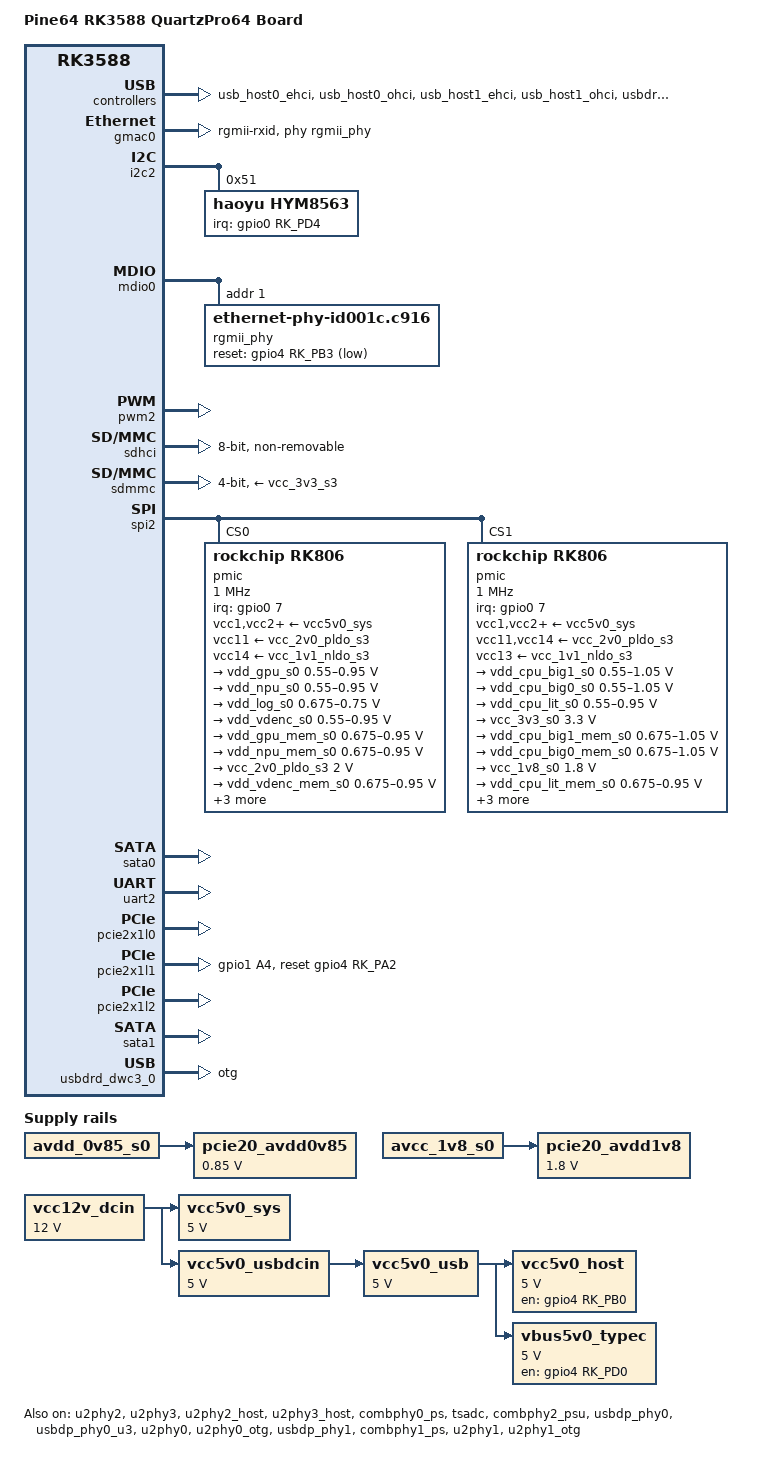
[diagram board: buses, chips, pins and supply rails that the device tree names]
// SPDX-License-Identifier: (GPL-2.0+ OR MIT)
/*
 * Copyright (c) 2021 Rockchip Electronics Co., Ltd.
 *
 */

/dts-v1/;

#include <dt-bindings/gpio/gpio.h>
#include <dt-bindings/pinctrl/rockchip.h>
#include <dt-bindings/usb/pd.h>
#include "rk3588.dtsi"

/ {
	model = "Pine64 RK3588 QuartzPro64 Board";
	compatible = "pine64,quartzpro64", "rockchip,rk3588";

	aliases {
		mmc0 = &sdhci;
		serial2 = &uart2;
	};

	chosen {
		stdout-path = "serial2:1500000n8";
	};

	vcc12v_dcin: vcc12v-dcin-regulator {
		compatible = "regulator-fixed";
		regulator-name = "vcc12v_dcin";
		regulator-always-on;
		regulator-boot-on;
		regulator-min-microvolt = <12000000>;
		regulator-max-microvolt = <12000000>;
	};

	vcc5v0_sys: vcc5v0-sys-regulator {
		compatible = "regulator-fixed";
		regulator-name = "vcc5v0_sys";
		regulator-always-on;
		regulator-boot-on;
		regulator-min-microvolt = <5000000>;
		regulator-max-microvolt = <5000000>;
		vin-supply = <&vcc12v_dcin>;
	};

	vcc5v0_usbdcin: vcc5v0-usbdcin {
		compatible = "regulator-fixed";
		regulator-name = "vcc5v0_usbdcin";
		regulator-always-on;
		regulator-boot-on;
		regulator-min-microvolt = <5000000>;
		regulator-max-microvolt = <5000000>;
		vin-supply = <&vcc12v_dcin>;
	};

	vcc5v0_usb: vcc5v0-usb {
		compatible = "regulator-fixed";
		regulator-name = "vcc5v0_usb";
		regulator-always-on;
		regulator-boot-on;
		regulator-min-microvolt = <5000000>;
		regulator-max-microvolt = <5000000>;
		vin-supply = <&vcc5v0_usbdcin>;
	};

	vcc5v0_host: vcc5v0-host {
		compatible = "regulator-fixed";
		regulator-name = "vcc5v0_host";
		regulator-boot-on;
		regulator-always-on;
		regulator-min-microvolt = <5000000>;
		regulator-max-microvolt = <5000000>;
		enable-active-high;
		gpio = <&gpio4 RK_PB0 GPIO_ACTIVE_HIGH>;
		vin-supply = <&vcc5v0_usb>;
		pinctrl-names = "default";
		pinctrl-0 = <&vcc5v0_host_en>;
	};

	pcie20_avdd0v85: pcie20-avdd0v85 {
		compatible = "regulator-fixed";
		regulator-name = "pcie20_avdd0v85";
		regulator-boot-on;
		regulator-always-on;
		regulator-min-microvolt = <850000>;
		regulator-max-microvolt = <850000>;
		vin-supply = <&avdd_0v85_s0>;
	};

	pcie20_avdd1v8: pcie20-avdd1v8 {
		compatible = "regulator-fixed";
		regulator-name = "pcie20_avdd1v8";
		regulator-boot-on;
		regulator-always-on;
		regulator-min-microvolt = <1800000>;
		regulator-max-microvolt = <1800000>;
		vin-supply = <&avcc_1v8_s0>;
	};

	vbus5v0_typec: vbus5v0-typec {
		compatible = "regulator-fixed";
		regulator-name = "vbus5v0_typec";
		regulator-min-microvolt = <5000000>;
		regulator-max-microvolt = <5000000>;
		enable-active-high;
		gpio = <&gpio4 RK_PD0 GPIO_ACTIVE_HIGH>;
		vin-supply = <&vcc5v0_usb>;
		pinctrl-names = "default";
		pinctrl-0 = <&typec5v_pwren>;
	};
};

&cpu_b0 {
	cpu-supply = <&vdd_cpu_big0_s0>;
	mem-supply = <&vdd_cpu_big0_mem_s0>;
};

&cpu_b1 {
	cpu-supply = <&vdd_cpu_big0_s0>;
	mem-supply = <&vdd_cpu_big0_mem_s0>;
};

&cpu_b2 {
	cpu-supply = <&vdd_cpu_big1_s0>;
	mem-supply = <&vdd_cpu_big1_mem_s0>;
};

&cpu_b3 {
	cpu-supply = <&vdd_cpu_big1_s0>;
	mem-supply = <&vdd_cpu_big1_mem_s0>;
};

&cpu_l0 {
	cpu-supply = <&vdd_cpu_lit_s0>;
	mem-supply = <&vdd_cpu_lit_mem_s0>;
};

&cpu_l1 {
	cpu-supply = <&vdd_cpu_lit_s0>;
	mem-supply = <&vdd_cpu_lit_mem_s0>;
};

&cpu_l2 {
	cpu-supply = <&vdd_cpu_lit_s0>;
	mem-supply = <&vdd_cpu_lit_mem_s0>;
};

&cpu_l3 {
	cpu-supply = <&vdd_cpu_lit_s0>;
	mem-supply = <&vdd_cpu_lit_mem_s0>;
};

&u2phy2 {
	status = "okay";
};

&u2phy3 {
	status = "okay";
};

&u2phy2_host {
	phy-supply = <&vcc5v0_host>;
	status = "okay";
};

&u2phy3_host {
	phy-supply = <&vcc5v0_host>;
	status = "okay";
};

&usb_host0_ehci {
	status = "okay";
};

&usb_host0_ohci {
	status = "okay";
};

&usb_host1_ehci {
	status = "okay";
};

&usb_host1_ohci {
	status = "okay";
};

&gmac0 {
	clock_in_out = "output";
	phy-handle = <&rgmii_phy>;
	phy-mode = "rgmii-rxid";
	pinctrl-0 = <&gmac0_miim
		     &gmac0_tx_bus2
		     &gmac0_rx_bus2
		     &gmac0_rgmii_clk
		     &gmac0_rgmii_bus>;
	pinctrl-names = "default";
	rx_delay = <0x00>;
	tx_delay = <0x43>;
	status = "okay";
};

&i2c2 {
	status = "okay";

	hym8563: rtc@51 {
		compatible = "haoyu,hym8563";
		reg = <0x51>;
		#clock-cells = <0>;
		clock-output-names = "hym8563";
		pinctrl-names = "default";
		pinctrl-0 = <&hym8563_int>;
		interrupt-parent = <&gpio0>;
		interrupts = <RK_PD4 IRQ_TYPE_LEVEL_LOW>;
		wakeup-source;
	};
};

&mdio0 {
	rgmii_phy: ethernet-phy@1 {
		/* RTL8211F */
		compatible = "ethernet-phy-id001c.c916";
		reg = <0x1>;
		pinctrl-names = "default";
		pinctrl-0 = <&rtl8211f_rst>;
		reset-assert-us = <20000>;
		reset-deassert-us = <100000>;
		reset-gpios = <&gpio4 RK_PB3 GPIO_ACTIVE_LOW>;
	};
};

&pinctrl {
	rtl8211f {
		rtl8211f_rst: rtl8211f-rst {
			rockchip,pins = <4 RK_PB3 RK_FUNC_GPIO &pcfg_pull_none>;
		};

	};

	hym8563 {
		hym8563_int: hym8563-int {
			rockchip,pins = <0 RK_PD4 RK_FUNC_GPIO &pcfg_pull_up>;
		};
	};
};

&pwm2 {
	status = "okay";
};

&sdhci {
	bus-width = <8>;
	no-sdio;
	no-sd;
	non-removable;
	max-frequency = <150000000>;
	mmc-hs200-1_8v;
	// mmc-hs400-1_8v;
	// mmc-hs400-enhanced-strobe;
	status = "okay";
};

&sdmmc {
	max-frequency = <150000000>;
	no-sdio;
	no-mmc;
	bus-width = <4>;
	cap-sd-highspeed;
	sd-uhs-sdr104;
	disable-wp;
	vmmc-supply = <&vcc_3v3_s3>;
	vqmmc-supply = <&vccio_sd_s0>;
	status = "okay";
};

&spi2 {
	status = "okay";
	assigned-clocks = <&cru CLK_SPI2>;
	assigned-clock-rates = <200000000>;
	num-cs = <2>;

	pmic@0 {
		compatible = "rockchip,rk806";
		reg = <0x0>;
		#gpio-cells = <2>;
		gpio-controller;
		interrupt-parent = <&gpio0>;
		interrupts = <7 IRQ_TYPE_LEVEL_LOW>;
		pinctrl-0 = <&pmic_pins>, <&rk806_dvs1_null>,
			    <&rk806_dvs2_null>, <&rk806_dvs3_null>;
		pinctrl-names = "default";
		spi-max-frequency = <1000000>;

		vcc1-supply = <&vcc5v0_sys>;
		vcc2-supply = <&vcc5v0_sys>;
		vcc3-supply = <&vcc5v0_sys>;
		vcc4-supply = <&vcc5v0_sys>;
		vcc5-supply = <&vcc5v0_sys>;
		vcc6-supply = <&vcc5v0_sys>;
		vcc7-supply = <&vcc5v0_sys>;
		vcc8-supply = <&vcc5v0_sys>;
		vcc9-supply = <&vcc5v0_sys>;
		vcc10-supply = <&vcc5v0_sys>;
		vcc11-supply = <&vcc_2v0_pldo_s3>;
		vcc12-supply = <&vcc5v0_sys>;
		vcc13-supply = <&vcc5v0_sys>;
		vcc14-supply = <&vcc_1v1_nldo_s3>;
		vcca-supply = <&vcc5v0_sys>;

		rk806_dvs1_null: dvs1-null-pins {
			pins = "gpio_pwrctrl1";
			function = "pin_fun0";
		};

		rk806_dvs2_null: dvs2-null-pins {
			pins = "gpio_pwrctrl2";
			function = "pin_fun0";
		};

		rk806_dvs3_null: dvs3-null-pins {
			pins = "gpio_pwrctrl3";
			function = "pin_fun0";
		};


		regulators {
			vdd_gpu_s0: dcdc-reg1 {
				regulator-boot-on;
				regulator-min-microvolt = <550000>;
				regulator-max-microvolt = <950000>;
				regulator-ramp-delay = <12500>;
				regulator-name = "vdd_gpu_s0";
				regulator-enable-ramp-delay = <400>;
				regulator-state-mem {
					regulator-off-in-suspend;
				};
			};

			vdd_npu_s0: dcdc-reg2 {
				regulator-always-on;
				regulator-boot-on;
				regulator-min-microvolt = <550000>;
				regulator-max-microvolt = <950000>;
				regulator-ramp-delay = <12500>;
				regulator-name = "vdd_npu_s0";
				regulator-state-mem {
					regulator-off-in-suspend;
				};
			};

			vdd_log_s0: dcdc-reg3 {
				regulator-always-on;
				regulator-boot-on;
				regulator-min-microvolt = <675000>;
				regulator-max-microvolt = <750000>;
				regulator-ramp-delay = <12500>;
				regulator-name = "vdd_log_s0";
				regulator-state-mem {
					regulator-off-in-suspend;
					regulator-suspend-microvolt = <750000>;
				};
			};

			vdd_vdenc_s0: dcdc-reg4 {
				regulator-always-on;
				regulator-boot-on;
				regulator-min-microvolt = <550000>;
				regulator-max-microvolt = <950000>;
				regulator-ramp-delay = <12500>;
				regulator-name = "vdd_vdenc_s0";
				regulator-state-mem {
					regulator-off-in-suspend;
				};

			};

			vdd_gpu_mem_s0: dcdc-reg5 {
				regulator-boot-on;
				regulator-min-microvolt = <675000>;
				regulator-max-microvolt = <950000>;
				regulator-ramp-delay = <12500>;
				regulator-enable-ramp-delay = <400>;
				regulator-name = "vdd_gpu_mem_s0";
				regulator-state-mem {
					regulator-off-in-suspend;
				};

			};

			vdd_npu_mem_s0: dcdc-reg6 {
				regulator-always-on;
				regulator-boot-on;
				regulator-min-microvolt = <675000>;
				regulator-max-microvolt = <950000>;
				regulator-ramp-delay = <12500>;
				regulator-name = "vdd_npu_mem_s0";
				regulator-state-mem {
					regulator-off-in-suspend;
				};

			};

			vcc_2v0_pldo_s3: dcdc-reg7 {
				regulator-always-on;
				regulator-boot-on;
				regulator-min-microvolt = <2000000>;
				regulator-max-microvolt = <2000000>;
				regulator-ramp-delay = <12500>;
				regulator-name = "vdd_2v0_pldo_s3";
				regulator-state-mem {
					regulator-on-in-suspend;
					regulator-suspend-microvolt = <2000000>;
				};
			};

			vdd_vdenc_mem_s0: dcdc-reg8 {
				regulator-always-on;
				regulator-boot-on;
				regulator-min-microvolt = <675000>;
				regulator-max-microvolt = <950000>;
				regulator-ramp-delay = <12500>;
				regulator-name = "vdd_vdenc_mem_s0";
				regulator-state-mem {
					regulator-off-in-suspend;
				};
			};

			vdd2_ddr_s3: dcdc-reg9 {
				regulator-always-on;
				regulator-boot-on;
				regulator-name = "vdd2_ddr_s3";
				regulator-state-mem {
					regulator-on-in-suspend;
				};
			};

			vcc_1v1_nldo_s3: dcdc-reg10 {
				regulator-always-on;
				regulator-boot-on;
				regulator-min-microvolt = <1100000>;
				regulator-max-microvolt = <1100000>;
				regulator-ramp-delay = <12500>;
				regulator-name = "vcc_1v1_nldo_s3";
				regulator-state-mem {
					regulator-on-in-suspend;
					regulator-suspend-microvolt = <1100000>;
				};
			};

			avcc_1v8_s0: pldo-reg1 {
				regulator-always-on;
				regulator-boot-on;
				regulator-min-microvolt = <1800000>;
				regulator-max-microvolt = <1800000>;
				regulator-ramp-delay = <12500>;
				regulator-name = "avcc_1v8_s0";
				regulator-state-mem {
					regulator-off-in-suspend;
				};
			};

			vdd1_1v8_ddr_s3: pldo-reg2 {
				regulator-always-on;
				regulator-boot-on;
				regulator-min-microvolt = <1800000>;
				regulator-max-microvolt = <1800000>;
				regulator-ramp-delay = <12500>;
				regulator-name = "vdd1_1v8_ddr_s3";
				regulator-state-mem {
					regulator-on-in-suspend;
					regulator-suspend-microvolt = <1800000>;
				};
			};

			avcc_1v8_codec_s0: pldo-reg3 {
				regulator-always-on;
				regulator-boot-on;
				regulator-min-microvolt = <1800000>;
				regulator-max-microvolt = <1800000>;
				regulator-ramp-delay = <12500>;
				regulator-name = "avcc_1v8_codec_s0";
				regulator-state-mem {
					regulator-off-in-suspend;
				};
			};

			vcc_3v3_s3: pldo-reg4 {
				regulator-always-on;
				regulator-boot-on;
				regulator-min-microvolt = <3300000>;
				regulator-max-microvolt = <3300000>;
				regulator-ramp-delay = <12500>;
				regulator-name = "vcc_3v3_s3";
				regulator-state-mem {
					regulator-on-in-suspend;
					regulator-suspend-microvolt = <3300000>;
				};
			};

			vccio_sd_s0: pldo-reg5 {
				regulator-always-on;
				regulator-boot-on;
				regulator-min-microvolt = <1800000>;
				regulator-max-microvolt = <3300000>;
				regulator-ramp-delay = <12500>;
				regulator-name = "vccio_sd_s0";
				regulator-state-mem {
					regulator-off-in-suspend;
				};
			};

			vccio_1v8_s3: pldo-reg6 {
				regulator-always-on;
				regulator-boot-on;
				regulator-min-microvolt = <1800000>;
				regulator-max-microvolt = <1800000>;
				regulator-ramp-delay = <12500>;
				regulator-name = "vccio_1v8_s3";
				regulator-state-mem {
					regulator-on-in-suspend;
					regulator-suspend-microvolt = <1800000>;
				};
			};

			vdd_0v75_s3: nldo-reg1 {
				regulator-always-on;
				regulator-boot-on;
				regulator-min-microvolt = <750000>;
				regulator-max-microvolt = <750000>;
				regulator-ramp-delay = <12500>;
				regulator-name = "vdd_0v75_s3";
				regulator-state-mem {
					regulator-on-in-suspend;
					regulator-suspend-microvolt = <750000>;
				};
			};

			vdd2l_0v9_ddr_s3: nldo-reg2 {
				regulator-always-on;
				regulator-boot-on;
				regulator-min-microvolt = <900000>;
				regulator-max-microvolt = <900000>;
				regulator-name = "vdd2l_0v9_ddr_s3";
				regulator-state-mem {
					regulator-on-in-suspend;
					regulator-suspend-microvolt = <900000>;
				};
			};

			vdd_0v75_hdmi_edp_s0: nldo-reg3 {
				regulator-always-on;
				regulator-boot-on;
				regulator-min-microvolt = <750000>;
				regulator-max-microvolt = <750000>;
				regulator-name = "vdd_0v75_hdmi_edp_s0";
				regulator-state-mem {
					regulator-off-in-suspend;
				};
			};

			avdd_0v75_s0: nldo-reg4 {
				regulator-always-on;
				regulator-boot-on;
				regulator-min-microvolt = <750000>;
				regulator-max-microvolt = <750000>;
				regulator-name = "avdd_0v75_s0";
				regulator-state-mem {
					regulator-off-in-suspend;
				};
			};

			vdd_0v85_s0: nldo-reg5 {
				regulator-always-on;
				regulator-boot-on;
				regulator-min-microvolt = <850000>;
				regulator-max-microvolt = <850000>;
				regulator-name = "vdd_0v85_s0";
				regulator-state-mem {
					regulator-off-in-suspend;
				};
			};
		};
	};

	pmic@1 {
		compatible = "rockchip,rk806";
		reg = <0x01>;
		#gpio-cells = <2>;
		gpio-controller;
		interrupt-parent = <&gpio0>;
		interrupts = <7 IRQ_TYPE_LEVEL_LOW>;
		pinctrl-0 = <&rk806_slave_dvs1_null>, <&rk806_slave_dvs2_null>,
			    <&rk806_slave_dvs3_null>;
		pinctrl-names = "default";
		spi-max-frequency = <1000000>;

		vcc1-supply = <&vcc5v0_sys>;
		vcc2-supply = <&vcc5v0_sys>;
		vcc3-supply = <&vcc5v0_sys>;
		vcc4-supply = <&vcc5v0_sys>;
		vcc5-supply = <&vcc5v0_sys>;
		vcc6-supply = <&vcc5v0_sys>;
		vcc7-supply = <&vcc5v0_sys>;
		vcc8-supply = <&vcc5v0_sys>;
		vcc9-supply = <&vcc5v0_sys>;
		vcc10-supply = <&vcc5v0_sys>;
		vcc11-supply = <&vcc_2v0_pldo_s3>;
		vcc12-supply = <&vcc5v0_sys>;
		vcc13-supply = <&vcc_1v1_nldo_s3>;
		vcc14-supply = <&vcc_2v0_pldo_s3>;
		vcca-supply = <&vcc5v0_sys>;

		rk806_slave_dvs1_null: dvs1-null-pins {
			pins = "gpio_pwrctrl1";
			function = "pin_fun0";
		};

		rk806_slave_dvs2_null: dvs2-null-pins {
			pins = "gpio_pwrctrl2";
			function = "pin_fun0";
		};

		rk806_slave_dvs3_null: dvs3-null-pins {
			pins = "gpio_pwrctrl3";
			function = "pin_fun0";
		};

		regulators {
			vdd_cpu_big1_s0: dcdc-reg1 {
				regulator-always-on;
				regulator-boot-on;
				regulator-min-microvolt = <550000>;
				regulator-max-microvolt = <1050000>;
				regulator-ramp-delay = <12500>;
				regulator-name = "vdd_cpu_big1_s0";
				regulator-state-mem {
					regulator-off-in-suspend;
				};
			};

			vdd_cpu_big0_s0: dcdc-reg2 {
				regulator-always-on;
				regulator-boot-on;
				regulator-min-microvolt = <550000>;
				regulator-max-microvolt = <1050000>;
				regulator-ramp-delay = <12500>;
				regulator-name = "vdd_cpu_big0_s0";
				regulator-state-mem {
					regulator-off-in-suspend;
				};
			};

			vdd_cpu_lit_s0: dcdc-reg3 {
				regulator-always-on;
				regulator-boot-on;
				regulator-min-microvolt = <550000>;
				regulator-max-microvolt = <950000>;
				regulator-ramp-delay = <12500>;
				regulator-name = "vdd_cpu_lit_s0";
				regulator-state-mem {
					regulator-off-in-suspend;
				};
			};

			vcc_3v3_s0: dcdc-reg4 {
				regulator-always-on;
				regulator-boot-on;
				regulator-min-microvolt = <3300000>;
				regulator-max-microvolt = <3300000>;
				regulator-ramp-delay = <12500>;
				regulator-name = "vcc_3v3_s0";
				regulator-state-mem {
					regulator-off-in-suspend;
				};
			};

			vdd_cpu_big1_mem_s0: dcdc-reg5 {
				regulator-always-on;
				regulator-boot-on;
				regulator-min-microvolt = <675000>;
				regulator-max-microvolt = <1050000>;
				regulator-ramp-delay = <12500>;
				regulator-name = "vdd_cpu_big1_mem_s0";
				regulator-state-mem {
					regulator-off-in-suspend;
				};
			};

			vdd_cpu_big0_mem_s0: dcdc-reg6 {
				regulator-always-on;
				regulator-boot-on;
				regulator-min-microvolt = <675000>;
				regulator-max-microvolt = <1050000>;
				regulator-ramp-delay = <12500>;
				regulator-name = "vdd_cpu_big0_mem_s0";
				regulator-state-mem {
					regulator-off-in-suspend;
				};
			};

			vcc_1v8_s0: dcdc-reg7 {
				regulator-always-on;
				regulator-boot-on;
				regulator-min-microvolt = <1800000>;
				regulator-max-microvolt = <1800000>;
				regulator-ramp-delay = <12500>;
				regulator-name = "vcc_1v8_s0";
				regulator-state-mem {
					regulator-off-in-suspend;
				};
			};

			vdd_cpu_lit_mem_s0: dcdc-reg8 {
				regulator-always-on;
				regulator-boot-on;
				regulator-min-microvolt = <675000>;
				regulator-max-microvolt = <950000>;
				regulator-ramp-delay = <12500>;
				regulator-name = "vdd_cpu_lit_mem_s0";
				regulator-state-mem {
					regulator-off-in-suspend;
				};
			};

			vddq_ddr_s0: dcdc-reg9 {
				regulator-always-on;
				regulator-boot-on;
				regulator-name = "vddq_ddr_s0";
				regulator-state-mem {
					regulator-off-in-suspend;
				};
			};

			vdd_ddr_s0: dcdc-reg10 {
				regulator-always-on;
				regulator-boot-on;
				regulator-min-microvolt = <675000>;
				regulator-max-microvolt = <900000>;
				regulator-ramp-delay = <12500>;
				regulator-name = "vdd_ddr_s0";
				regulator-state-mem {
					regulator-off-in-suspend;
				};
			};

			vcc_1v8_cam_s0: pldo-reg1 {
				regulator-always-on;
				regulator-boot-on;
				regulator-min-microvolt = <1800000>;
				regulator-max-microvolt = <1800000>;
				regulator-ramp-delay = <12500>;
				regulator-name = "vcc_1v8_cam_s0";
				regulator-state-mem {
					regulator-off-in-suspend;
				};
			};

			avdd1v8_ddr_pll_s0: pldo-reg2 {
				regulator-always-on;
				regulator-boot-on;
				regulator-min-microvolt = <1800000>;
				regulator-max-microvolt = <1800000>;
				regulator-ramp-delay = <12500>;
				regulator-name = "avdd1v8_ddr_pll_s0";
				regulator-state-mem {
					regulator-off-in-suspend;
				};
			};

			vdd_1v8_pll_s0: pldo-reg3 {
				regulator-always-on;
				regulator-boot-on;
				regulator-min-microvolt = <1800000>;
				regulator-max-microvolt = <1800000>;
				regulator-ramp-delay = <12500>;
				regulator-name = "vdd_1v8_pll_s0";
				regulator-state-mem {
					regulator-off-in-suspend;
				};
			};

			vcc_3v3_sd_s0: pldo-reg4 {
				regulator-always-on;
				regulator-boot-on;
				regulator-min-microvolt = <3300000>;
				regulator-max-microvolt = <3300000>;
				regulator-ramp-delay = <12500>;
				regulator-name = "vcc_3v3_sd_s0";
				regulator-state-mem {
					regulator-off-in-suspend;
				};
			};

			vcc_2v8_cam_s0: pldo-reg5 {
				regulator-always-on;
				regulator-boot-on;
				regulator-min-microvolt = <2800000>;
				regulator-max-microvolt = <2800000>;
				regulator-ramp-delay = <12500>;
				regulator-name = "vcc_2v8_cam_s0";
				regulator-state-mem {
					regulator-off-in-suspend;
				};
			};

			pldo6_s3: pldo-reg6 {
				regulator-always-on;
				regulator-boot-on;
				regulator-min-microvolt = <1800000>;
				regulator-max-microvolt = <1800000>;
				regulator-name = "pldo6_s3";
				regulator-state-mem {
					regulator-on-in-suspend;
					regulator-suspend-microvolt = <1800000>;
				};
			};

			vdd_0v75_pll_s0: nldo-reg1 {
				regulator-always-on;
				regulator-boot-on;
				regulator-min-microvolt = <750000>;
				regulator-max-microvolt = <750000>;
				regulator-ramp-delay = <12500>;
				regulator-name = "vdd_0v75_pll_s0";
				regulator-state-mem {
					regulator-off-in-suspend;
				};
			};

			vdd_ddr_pll_s0: nldo-reg2 {
				regulator-always-on;
				regulator-boot-on;
				regulator-min-microvolt = <850000>;
				regulator-max-microvolt = <850000>;
				regulator-name = "vdd_ddr_pll_s0";
				regulator-state-mem {
					regulator-off-in-suspend;
				};
			};

			avdd_0v85_s0: nldo-reg3 {
				regulator-always-on;
				regulator-boot-on;
				regulator-min-microvolt = <850000>;
				regulator-max-microvolt = <850000>;
				regulator-ramp-delay = <12500>;
				regulator-name = "avdd_0v85_s0";
				regulator-state-mem {
					regulator-off-in-suspend;
				};
			};

			avdd_1v2_cam_s0: nldo-reg4 {
				regulator-always-on;
				regulator-boot-on;
				regulator-min-microvolt = <1200000>;
				regulator-max-microvolt = <1200000>;
				regulator-ramp-delay = <12500>;
				regulator-name = "avdd_1v2_cam_s0";
				regulator-state-mem {
					regulator-off-in-suspend;
				};
			};

			avdd_1v2_s0: nldo-reg5 {
				regulator-always-on;
				regulator-boot-on;
				regulator-min-microvolt = <1200000>;
				regulator-max-microvolt = <1200000>;
				regulator-ramp-delay = <12500>;
				regulator-name = "avdd_1v2_s0";
				regulator-state-mem {
					regulator-off-in-suspend;
				};
			};
		};
	};
};

&combphy0_ps {
	status = "okay";
};

&sata0 {
	status = "okay";
};

&tsadc {
	status = "okay";
};

&uart2 {
	pinctrl-0 = <&uart2m0_xfer>;
	status = "okay";
};

&pcie2x1l0 {
	status = "okay";
};

&pcie2x1l1 {
	reset-gpios = <&gpio4 RK_PA2 GPIO_ACTIVE_HIGH>;
	pinctrl-names = "default";
	pinctrl-0 = <&rtl8111_isolate>;
	status = "okay";
};

&pcie2x1l2 {
	status = "okay";
};

&pinctrl {
	rtl8111 {
		rtl8111_isolate: rtl8111-isolate {
			rockchip,pins = <1 RK_PA4 RK_FUNC_GPIO &pcfg_pull_up>;
		};
	};

	usb {
		vcc5v0_host_en: vcc5v0-host-en {
			rockchip,pins = <4 RK_PB0 RK_FUNC_GPIO &pcfg_pull_none>;
		};
	};

	usb-typec {
		usbc0_int: usbc0-int {
			rockchip,pins = <3 RK_PB4 RK_FUNC_GPIO &pcfg_pull_up>;
		};

		typec5v_pwren: typec5v-pwren {
			rockchip,pins = <4 RK_PD0 RK_FUNC_GPIO &pcfg_pull_none>;
		};
	};
};

&sata1 {
	status = "okay";
};

&combphy2_psu {
	status = "okay";
};

&usbdp_phy0 {
	sbu1-dc-gpios = <&gpio4 RK_PA6 GPIO_ACTIVE_HIGH>;
	sbu2-dc-gpios = <&gpio4 RK_PA7 GPIO_ACTIVE_HIGH>;
	status = "okay";
};

&usbdp_phy0_u3 {
	status = "okay";
};

&usbdrd3_0 {
	status = "okay";
};

&usbdrd_dwc3_0 {
	dr_mode = "otg";
};

&u2phy0 {
	status = "okay";
};

&u2phy0_otg {
	status = "okay";
};

&usbdp_phy1 {
	rockchip,dp-lane-mux = <2 3>;
	status = "okay";

	usbdp_phy1_u3: usb3-port {
		status = "okay";
	};
};

&combphy1_ps {
	status = "okay";
};

&usbdp_phy1_u3 {
	status = "okay";
};

&usbdrd3_1 {
	status = "okay";
};

&u2phy1 {
	status = "okay";
};

&u2phy1_otg {
	status = "okay";
};
